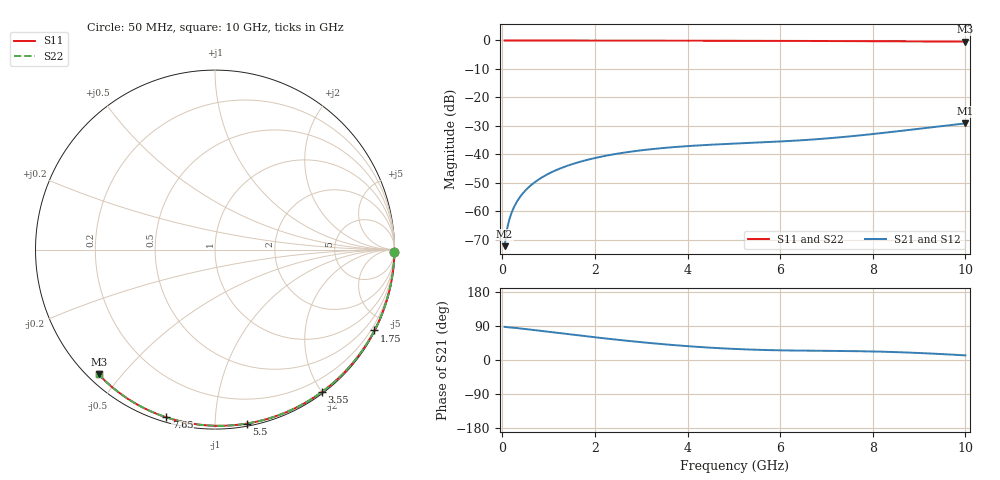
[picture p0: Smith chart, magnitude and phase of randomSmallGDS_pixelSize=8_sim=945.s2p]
! freq	dB(S11)	phase(S11)	dB(S12)	phase(S12)
!  dB(S21)	phase(S21)	dB(S22)	phase(S22)
!S-par simulation data
#  GHz  S  DB  R 50
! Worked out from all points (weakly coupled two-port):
!   200 points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, 50 MHz to 10 GHz, reference 50 ohm
!   highest |S21| = -29.13 dB at 10 GHz (marker M1); lowest = -72.3 dB at 50 MHz (marker M2)
!   lowest |S11| = -0.4 dB at 10 GHz (marker M3), VSWR 39.46, Z = 1.51 - j21.7 ohm
!   |S11| at or under -10 dB: nowhere
!   |S22| runs from -0.4 to 0.0 dB; largest |S21 - S12| = 0
!   S11 on the Smith chart (normalised r, x): 50 MHz: open; 1.75 GHz: 0.04, -4.18; 3.55 GHz: 0.02, -2.00; 5.5 GHz: 0.02, -1.20; 7.65 GHz: 0.02, -0.75; 10 GHz: 0.03, -0.43
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0.05  -0.00 -0.8  -72.26 87.5  -72.26 87.5  -0.00 -0.8
0.1  -0.00 -1.6  -66.43 86.7  -66.43 86.7  -0.00 -1.6
0.15  -0.00 -2.3  -63.00 86.2  -63.00 86.2  -0.00 -2.3
0.2  -0.00 -3.1  -60.54 85.7  -60.54 85.7  -0.00 -3.1
0.25  -0.00 -3.9  -58.63 85.1  -58.63 85.1  -0.00 -3.9
0.35  -0.00 -5.5  -55.74 83.8  -55.74 83.8  -0.00 -5.5
0.5  -0.01 -7.8  -52.68 81.7  -52.68 81.7  -0.01 -7.8
0.7  -0.01 -10.9  -49.81 78.8  -49.81 78.8  -0.01 -10.9
1  -0.02 -15.5  -46.80 74.4  -46.80 74.4  -0.02 -15.5
1.35  -0.03 -20.8  -44.34 69.2  -44.34 69.2  -0.03 -20.9
1.75  -0.03 -26.9  -42.30 63.5  -42.30 63.5  -0.03 -26.9
2.5  -0.05 -38.1  -39.73 53.2  -39.73 53.2  -0.05 -38.1
3.4  -0.07 -51.1  -37.89 42.5  -37.89 42.5  -0.07 -51.1
3.55  -0.07 -53.2  -37.67 40.9  -37.67 40.9  -0.07 -53.3
4.3  -0.09 -63.7  -36.80 34.0  -36.80 34.0  -0.09 -63.7
5.05  -0.11 -73.8  -36.20 29.0  -36.20 29.0  -0.11 -73.8
5.5  -0.13 -79.6  -35.87 27.0  -35.87 27.0  -0.13 -79.7
6.7  -0.18 -94.7  -34.79 24.5  -34.79 24.5  -0.18 -94.8
7.65  -0.24 -106.1  -33.47 23.3  -33.47 23.3  -0.24 -106.2
8.35  -0.29 -114.3  -32.24 21.4  -32.24 21.4  -0.29 -114.3
9.15  -0.35 -123.4  -30.73 17.7  -30.73 17.7  -0.35 -123.5
10  -0.44 -133.0  -29.13 12.2  -29.13 12.2  -0.44 -133.0
